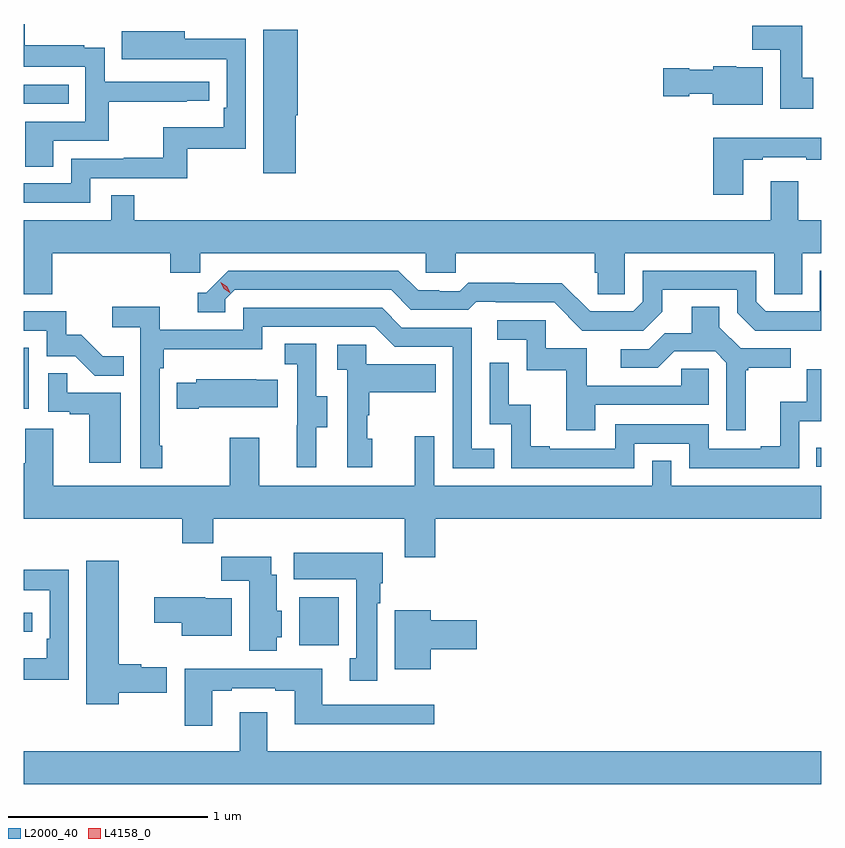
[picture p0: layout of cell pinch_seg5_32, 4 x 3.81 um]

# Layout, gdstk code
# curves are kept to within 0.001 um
import gdstk
lib = gdstk.Library(unit=1e-6, precision=1e-09)
def R(c, l, rs):  # rectangles x0, y0, x1, y1
    for r in rs: c.add(gdstk.rectangle(r[:2], r[2:], *l))
def P(c, l, *ps):  # polygons
    for p in ps: c.add(gdstk.Polygon(p, *l))
L2000_40 = (2000, 40)
L4158_0 = (4158, 0)

pinch_seg5_32 = lib.new_cell('pinch_seg5_32')
R(pinch_seg5_32, L2000_40, [(1107.677,912.068,1107.874,912.31), (1106.295,912.135,1106.338,912.231), (1110.271,912.963,1110.295,913.06), (1106.295,913.254,1106.32,913.561), (1106.295,914.784,1106.519,914.88)])
P(pinch_seg5_32, L2000_40, [(1106.443,914.598),(1106.72,914.598),(1106.72,914.794),(1107.113,914.794),(1107.113,914.799),(1107.226,914.799),(1107.226,914.895),(1106.7,914.895),(1106.7,915.067),(1106.597,915.067),(1106.597,915.079),(1106.299,915.079),(1106.299,915.185),(1106.295,915.185),(1106.295,914.97),(1106.604,914.97),(1106.604,914.694),(1106.303,914.694),(1106.303,914.47),(1106.443,914.47)],
  [(1110.256,914.916),(1110.199,914.916),(1110.199,915.175),(1109.95,915.175),(1109.95,915.056),(1110.089,915.056),(1110.089,914.76),(1110.256,914.76)],
  [(1107.658,914.727),(1107.67,914.727),(1107.67,915.157),(1107.497,915.157),(1107.497,914.436),(1107.658,914.436)],
  [(1106.628,914.412),(1107.115,914.412),(1107.115,914.559),(1107.408,914.559),(1107.408,915.11),(1107.103,915.11),(1107.103,915.148),(1106.785,915.148),(1106.785,915.008),(1106.999,915.008),(1106.999,915.009),(1107.312,915.009),(1107.312,914.764),(1107.299,914.764),(1107.299,914.668),(1106.994,914.668),(1106.994,914.513),(1106.797,914.513),(1106.797,914.508),(1106.532,914.508),(1106.532,914.385),(1106.295,914.385),(1106.295,914.289),(1106.628,914.289)],
  [(1110.001,914.968),(1109.868,914.968),(1109.868,914.974),(1109.754,914.974),(1109.754,914.956),(1109.634,914.956),(1109.634,914.964),(1109.502,914.964),(1109.502,914.822),(1109.634,914.822),(1109.634,914.834),(1109.75,914.834),(1109.75,914.78),(1110.001,914.78)],
  [(1109.905,914.505),(1110.001,914.505),(1110.001,914.517),(1110.221,914.517),(1110.221,914.505),(1110.295,914.505),(1110.295,914.614),(1109.753,914.614),(1109.753,914.328),(1109.905,914.328)],
  [(1110.06,913.828),(1110.199,913.828),(1110.199,914.036),(1110.295,914.036),(1110.295,914.2),(1110.181,914.2),(1110.181,914.395),(1110.041,914.395),(1110.041,914.2),(1106.849,914.2),(1106.849,914.327),(1106.733,914.327),(1106.733,914.2),(1106.295,914.2),(1106.295,913.828),(1106.438,913.828),(1106.438,914.036),(1107.029,914.036),(1107.029,913.938),(1107.18,913.938),(1107.18,914.036),(1108.311,914.036),(1108.311,913.938),(1108.461,913.938),(1108.461,914.036),(1109.159,914.036),(1109.159,913.938),(1109.173,913.938),(1109.173,913.828),(1109.31,913.828),(1109.31,914.036),(1110.06,914.036)],
  [(1110.295,913.947),(1110.288,913.947),(1110.288,913.743),(1110.018,913.743),(1109.97,913.791),(1109.97,913.947),(1109.4,913.947),(1109.4,913.791),(1109.352,913.743),(1109.136,913.743),(1108.994,913.885),(1108.758,913.885),(1108.758,913.888),(1108.525,913.888),(1108.483,913.845),(1108.38,913.845),(1108.38,913.848),(1108.273,913.848),(1108.174,913.947),(1107.321,913.947),(1107.21,913.836),(1107.167,913.836),(1107.167,913.74),(1107.306,913.74),(1107.306,913.803),(1107.354,913.851),(1108.137,913.851),(1108.236,913.752),(1108.525,913.752),(1108.564,913.791),(1108.663,913.791),(1108.663,913.788),(1108.956,913.788),(1109.097,913.647),(1109.403,913.647),(1109.497,913.741),(1109.497,913.851),(1109.874,913.851),(1109.874,913.737),(1109.964,913.647),(1110.295,913.646)],
  [(1109.917,913.449),(1109.929,913.449),(1109.929,913.46),(1110.142,913.46),(1110.142,913.557),(1109.892,913.557),(1109.785,913.664),(1109.785,913.766),(1109.645,913.766),(1109.645,913.634),(1109.51,913.634),(1109.43,913.554),(1109.289,913.554),(1109.289,913.461),(1109.476,913.461),(1109.557,913.542),(1109.763,913.542),(1109.82,913.485),(1109.82,913.146),(1109.917,913.146)],
  [(1106.989,913.069),(1106.976,913.069),(1106.976,913.457),(1106.996,913.457),(1106.996,913.553),(1107.492,913.553),(1107.492,913.665),(1108.056,913.665),(1108.155,913.566),(1108.446,913.566),(1108.446,912.957),(1108.655,912.957),(1108.655,913.053),(1108.542,913.053),(1108.542,913.662),(1108.192,913.662),(1108.093,913.761),(1107.396,913.761),(1107.396,913.65),(1106.978,913.65),(1106.978,913.766),(1106.739,913.766),(1106.739,913.664),(1106.88,913.664),(1106.88,912.957),(1106.989,912.957)],
  [(1106.795,913.519),(1106.691,913.519),(1106.584,913.626),(1106.508,913.626),(1106.508,913.743),(1106.295,913.743),(1106.295,913.647),(1106.409,913.647),(1106.409,913.518),(1106.553,913.518),(1106.651,913.42),(1106.795,913.42)],
  [(1109.161,913.275),(1109.73,913.275),(1109.73,913.455),(1109.593,913.455),(1109.593,913.371),(1109.119,913.371),(1109.119,913.557),(1108.914,913.557),(1108.914,913.698),(1108.671,913.698),(1108.671,913.602),(1108.818,913.602),(1108.818,913.449),(1109.017,913.449),(1109.017,913.146),(1109.161,913.146)],
  [(1107.763,913.162),(1107.817,913.162),(1107.817,913.317),(1107.762,913.317),(1107.762,913.58),(1107.603,913.58),(1107.603,913.477),(1107.666,913.477),(1107.666,913.173),(1107.665,913.173),(1107.665,912.96),(1107.763,912.96)],
  [(1108.042,913.104),(1108.017,913.104),(1108.017,913.223),(1108.027,913.223),(1108.027,913.337),(1108.361,913.337),(1108.361,913.477),(1108.014,913.477),(1108.014,913.575),(1107.867,913.575),(1107.867,913.451),(1107.918,913.451),(1107.918,912.96),(1108.042,912.96)],
  [(1109.358,913.08),(1109.634,913.08),(1109.634,912.957),(1110.186,912.957),(1110.186,913.193),(1110.295,913.193),(1110.295,913.452),(1110.222,913.452),(1110.222,913.291),(1110.089,913.291),(1110.089,913.066),(1109.993,913.066),(1109.993,913.053),(1109.73,913.053),(1109.73,913.176),(1109.262,913.176),(1109.262,913.053),(1108.933,913.053),(1108.933,913.066),(1108.838,913.066),(1108.838,913.274),(1108.728,913.274),(1108.728,913.486),(1108.632,913.486),(1108.632,913.176),(1108.74,913.176),(1108.74,912.957),(1109.358,912.957)],
  [(1106.782,913.335),(1106.513,913.335),(1106.513,913.433),(1106.418,913.433),(1106.418,913.239),(1106.525,913.239),(1106.525,913.227),(1106.624,913.227),(1106.624,912.984),(1106.782,912.984)],
  [(1107.172,913.262),(1107.569,913.262),(1107.569,913.399),(1107.461,913.399),(1107.461,913.402),(1107.159,913.402),(1107.159,913.384),(1107.061,913.384),(1107.061,913.255),(1107.172,913.255)],
  [(1108.358,912.704),(1110.295,912.704),(1110.295,912.868),(1109.544,912.868),(1109.544,912.995),(1109.448,912.995),(1109.448,912.868),(1108.353,912.868),(1108.353,913.117),(1108.256,913.117),(1108.256,912.868),(1107.475,912.868),(1107.475,913.108),(1107.328,913.108),(1107.328,912.868),(1106.443,912.868),(1106.443,913.154),(1106.303,913.154),(1106.303,912.98),(1106.295,912.98),(1106.295,912.704),(1107.089,912.704),(1107.089,912.58),(1107.245,912.58),(1107.245,912.704),(1108.205,912.704),(1108.205,912.51),(1108.358,912.51)],
  [(1108.069,912.278),(1108.084,912.278),(1108.084,912.378),(1108.096,912.378),(1108.096,912.532),(1107.65,912.532),(1107.65,912.398),(1107.962,912.398),(1107.962,912.002),(1107.929,912.002),(1107.929,911.889),(1108.069,911.889)],
  [(1107.565,912.108),(1107.589,912.108),(1107.589,912.24),(1107.565,912.24),(1107.565,912.421),(1107.535,912.421),(1107.535,912.511),(1107.286,912.511),(1107.286,912.392),(1107.425,912.392),(1107.425,912.041),(1107.565,912.041)],
  [(1106.77,911.83),(1107.013,911.83),(1107.013,911.959),(1106.883,911.959),(1106.883,911.972),(1106.77,911.972),(1106.77,912.493),(1106.609,912.493),(1106.609,911.772),(1106.77,911.772)],
  [(1106.52,912.446),(1106.295,912.446),(1106.295,912.345),(1106.424,912.345),(1106.424,912.1),(1106.411,912.1),(1106.411,912.004),(1106.295,912.004),(1106.295,911.895),(1106.52,911.895)],
  [(1107.337,912.304),(1107.204,912.304),(1107.204,912.31),(1106.949,912.31),(1106.949,912.182),(1107.086,912.182),(1107.086,912.116),(1107.337,912.116)],
  [(1108.336,912.047),(1108.567,912.047),(1108.567,912.194),(1108.336,912.194),(1108.336,912.244),(1108.157,912.244),(1108.157,911.948),(1108.336,911.948)],
  [(1107.241,911.841),(1107.337,911.841),(1107.337,911.853),(1107.557,911.853),(1107.557,911.841),(1107.653,911.841),(1107.653,911.672),(1108.354,911.672),(1108.354,911.769),(1107.793,911.769),(1107.793,911.949),(1107.333,911.949),(1107.333,911.95),(1107.101,911.95),(1107.101,911.664),(1107.241,911.664)],
  [(1110.295,911.536),(1107.517,911.536),(1107.517,911.731),(1107.377,911.731),(1107.377,911.536),(1106.295,911.536),(1106.295,911.372),(1110.295,911.372)])
P(pinch_seg5_32, L4158_0, [(1107.329,913.836),(1107.298,913.856),(1107.282,913.888),(1107.282,913.889),(1107.283,913.889),(1107.313,913.869),(1107.33,913.837),(1107.33,913.836)])

lib.write_gds('pinch_seg5_32.gds')
